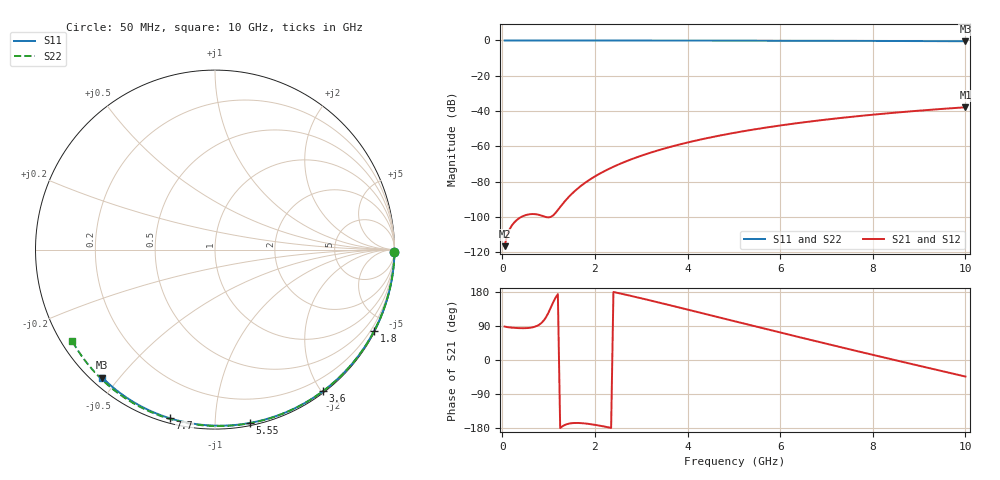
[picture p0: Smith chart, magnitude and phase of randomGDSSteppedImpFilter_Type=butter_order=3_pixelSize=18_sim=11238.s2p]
! freq	dB(S11)	phase(S11)	dB(S12)	phase(S12)
!  dB(S21)	phase(S21)	dB(S22)	phase(S22)
!S-par simulation data
#  GHz  S  DB  R 50
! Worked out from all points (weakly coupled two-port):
!   200 points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, 50 MHz to 10 GHz, reference 50 ohm
!   highest |S21| = -37.86 dB at 10 GHz (marker M1); lowest = -116.6 dB at 50 MHz (marker M2)
!   lowest |S11| = -0.4 dB at 10 GHz (marker M3), VSWR 39.18, Z = 1.54 - j22.6 ohm
!   |S11| at or under -10 dB: nowhere
!   |S22| runs from -0.5 to 0.0 dB; largest |S21 - S12| = 0
!   S11 on the Smith chart (normalised r, x): 50 MHz: open; 1.8 GHz: 0.04, -4.18; 3.6 GHz: 0.02, -2.02; 5.55 GHz: 0.02, -1.22; 7.7 GHz: 0.02, -0.77; 10 GHz: 0.03, -0.45
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0.05  -0.00 -0.8  -116.56 88.3  -116.56 88.3  -0.00 -0.9
0.45  -0.01 -6.8  -99.49 83.9  -99.49 83.9  -0.01 -7.7
0.9  -0.02 -13.6  -99.71 105.0  -99.71 105.0  -0.02 -15.3
1.3  -0.02 -19.5  -92.73 -174.8  -92.73 -174.8  -0.03 -22.0
1.75  -0.03 -26.2  -81.37 -167.0  -81.37 -167.0  -0.04 -29.5
1.8  -0.03 -26.9  -80.42 -167.6  -80.42 -167.6  -0.04 -30.4
1.85  -0.04 -27.7  -79.52 -168.4  -79.52 -168.4  -0.04 -31.2
2.05  -0.04 -30.6  -76.26 -172.1  -76.26 -172.1  -0.04 -34.5
2.2  -0.04 -32.8  -74.12 -175.5  -74.12 -175.5  -0.05 -36.9
2.55  -0.05 -37.8  -69.82 175.5  -69.82 175.5  -0.05 -42.6
2.95  -0.06 -43.5  -65.77 164.3  -65.77 164.3  -0.06 -49.0
3.4  -0.07 -49.9  -61.99 151.1  -61.99 151.1  -0.07 -56.1
3.6  -0.07 -52.6  -60.50 145.1  -60.50 145.1  -0.08 -59.2
4.3  -0.09 -62.2  -56.03 124.0  -56.03 124.0  -0.10 -69.8
5.05  -0.11 -72.2  -52.14 101.3  -52.14 101.3  -0.12 -80.9
5.55  -0.13 -78.6  -49.95 86.2  -49.95 86.2  -0.14 -88.1
6.1  -0.15 -85.6  -47.81 69.7  -47.81 69.7  -0.17 -95.8
6.7  -0.18 -93.0  -45.75 51.8  -45.75 51.8  -0.20 -104.0
7.7  -0.24 -105.0  -42.83 22.3  -42.83 22.3  -0.27 -117.4
8.35  -0.29 -112.6  -41.21 3.5  -41.21 3.5  -0.32 -125.9
9.2  -0.36 -122.3  -39.36 -20.9  -39.36 -20.9  -0.40 -136.9
10  -0.44 -131.4  -37.86 -43.6  -37.86 -43.6  -0.50 -147.3
